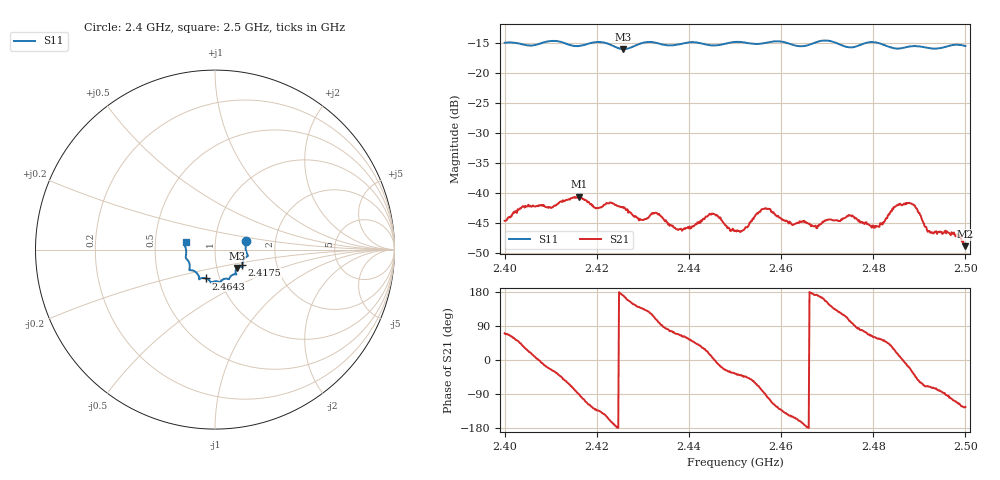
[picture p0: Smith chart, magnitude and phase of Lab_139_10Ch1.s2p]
# Hz S RI R 50
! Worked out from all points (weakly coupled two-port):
!   601 points, 2.4 GHz to 2.5 GHz, reference 50 ohm
!   highest |S21| = -40.58 dB at 2.4162 GHz (marker M1); lowest = -48.8 dB at 2.5 GHz (marker M2)
!   lowest |S11| = -15.9 dB at 2.4257 GHz (marker M3), VSWR 1.38, Z = 62.4 - j13.1 ohm
!   |S11| at or under -10 dB: start of sweep to end of sweep
!   S12 and S22 are empty: the file has one direction only
!   S11 on the Smith chart (normalised r, x): 2.4 GHz: 1.41, +0.14; 2.4175 GHz: 1.34, -0.23; 2.4643 GHz: 0.86, -0.28; 2.5 GHz: 0.72, +0.06
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2.4e9  0.1734 0.0487  0.00197 0.00556  0 0  0 0
2.404167e9  0.1721 0.0235  0.00636 0.00444  0 0  0 0
2.416167e9  0.1548 -0.0688  -9.78e-05 -0.00935  0 0  0 0
2.416667e9  0.1533 -0.0748  -0.00125 -0.00915  0 0  0 0
2.4175e9  0.1522 -0.0843  -0.00287 -0.00834  0 0  0 0
2.425667e9  0.1224 -0.1025  -0.0076 0.00121  0 0  0 0
2.429667e9  0.1167 -0.1346  -0.00441 0.00411  0 0  0 0
2.433333e9  0.1132 -0.1375  -0.00118 0.00654  0 0  0 0
2.438167e9  0.0819 -0.1556  0.00217 0.00458  0 0  0 0
2.4455e9  0.0513 -0.1631  0.0067 6.41e-06  0 0  0 0
2.45e9  0.0287 -0.1809  0.00391 -0.00288  0 0  0 0
2.451667e9  0.0237 -0.1805  0.00366 -0.00327  0 0  0 0
2.456333e9  -0.00879 -0.1786  0.000364 -0.0074  0 0  0 0
2.464333e9  -0.0501 -0.1607  -0.00551 -0.00164  0 0  0 0
2.466667e9  -0.0762 -0.1592  -0.00541 0.000452  0 0  0 0
2.475e9  -0.1061 -0.1261  -0.00142 0.00639  0 0  0 0
2.480667e9  -0.1431 -0.1111  0.00283 0.00453  0 0  0 0
2.483333e9  -0.1407 -0.0899  0.00483 0.00461  0 0  0 0
2.488333e9  -0.1616 -0.0484  0.00713 -0.004  0 0  0 0
2.492167e9  -0.1608 -0.0236  0.00163 -0.00457  0 0  0 0
2.4975e9  -0.1703 0.0298  -0.00138 -0.0045  0 0  0 0
2.5e9  -0.1638 0.0428  -0.00202 -0.00301  0 0  0 0
